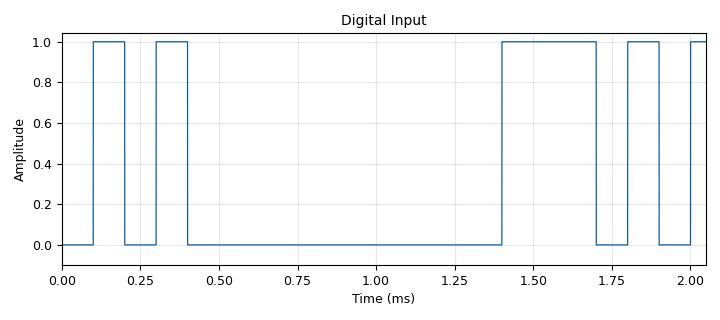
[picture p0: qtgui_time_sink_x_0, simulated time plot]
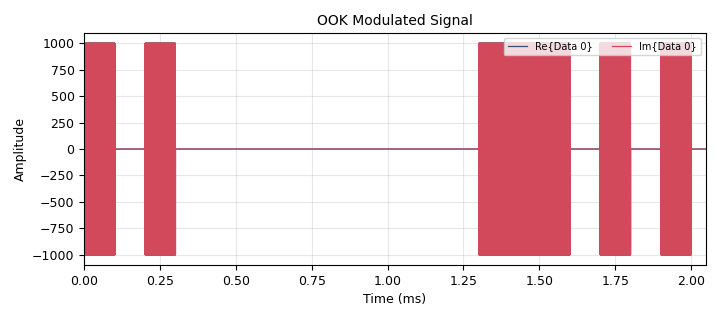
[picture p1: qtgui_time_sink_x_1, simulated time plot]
<?xml version='1.0' encoding='utf-8'?>
<?grc format='1' created='3.7.11'?>
<flow_graph>
<block>
<key>options</key>
<param><key>id</key><value>top_block</value></param>
<param><key>generate_options</key><value>qt_gui</value></param>
</block>
<block>
<key>variable</key>
<param><key>id</key><value>center_freq</value></param>
<param><key>value</key><value>313e6</value></param>
</block>
<block>
<key>variable_qtgui_entry</key>
<param><key>id</key><value>freq</value></param>
<param><key>value</key><value>315e6</value></param>
<param><key>type</key><value>real</value></param>
</block>
<block>
<key>variable</key>
<param><key>id</key><value>gain</value></param>
<param><key>value</key><value>1e3</value></param>
</block>
<block>
<key>variable</key>
<param><key>id</key><value>samp_rate</value></param>
<param><key>value</key><value>8e6</value></param>
</block>
<block>
<key>analog_const_source_x</key>
<param><key>id</key><value>analog_const_source_x_0</value></param>
<param><key>const</key><value>0</value></param>
<param><key>type</key><value>float</value></param>
</block>
<block>
<key>analog_sig_source_x</key>
<param><key>id</key><value>analog_sig_source_x_0</value></param>
<param><key>amp</key><value>gain</value></param>
<param><key>comment</key><value>Tune frequency to the difference:
freq - center_freq

Boost the carrier amplitude using the gain value.</value></param>
<param><key>freq</key><value>freq-center_freq</value></param>
<param><key>offset</key><value>0</value></param>
<param><key>type</key><value>complex</value></param>
<param><key>samp_rate</key><value>samp_rate</value></param>
<param><key>waveform</key><value>analog.GR_COS_WAVE</value></param>
</block>
<block>
<key>blocks_float_to_complex</key>
<param><key>id</key><value>blocks_float_to_complex_0</value></param>
<param><key>comment</key><value>The real part of the complex value is the signal
coming out of the Repeat block. 

The complex part of the signal is the constant 
source block input.

When the constant is 0, then the complex portion 
of the signal is zero.

Repeat + j constant

This will either be 1 + j0  or 0 + j0 because the 
vector source values are either 0 or 1</value></param>
</block>
<block>
<key>blocks_multiply_xx</key>
<param><key>id</key><value>blocks_multiply_xx_0</value></param>
<param><key>comment</key><value>The float to complex output is either 1 + j0  or
0 + j0.

Multiplying this by the carrier cosine wave 
results in an unmodified carrier wave when the
input data is 1 and shuts off the carrier wave
when the input data is 0.</value></param>
<param><key>type</key><value>complex</value></param>
</block>
<block>
<key>blocks_repeat</key>
<param><key>id</key><value>blocks_repeat_0</value></param>
<param><key>interp</key><value>800</value></param>
<param><key>type</key><value>float</value></param>
</block>
<block>
<key>blocks_throttle</key>
<param><key>id</key><value>blocks_throttle_0</value></param>
<param><key>samples_per_second</key><value>samp_rate</value></param>
<param><key>type</key><value>complex</value></param>
</block>
<block>
<key>blocks_vector_source_x</key>
<param><key>id</key><value>blocks_vector_source_x_0</value></param>
<param><key>type</key><value>float</value></param>
<param><key>repeat</key><value>True</value></param>
<param><key>vector</key><value>(0, 1,1,1,0,1,0,1,0,1,0,0,0,0,0,0,0,0,0)</value></param>
</block>
<block>
<key>note</key>
<param><key>id</key><value>note_0</value></param>
<param><key>comment</key><value>OOK Modulator

Transmit a carrier when the signal is a one and
turn it off when signal is a zero.</value></param>
<param><key>note</key><value>Build Modulator</value></param>
</block>
<block>
<key>note</key>
<param><key>id</key><value>note_1</value></param>
</block>
<block>
<key>note</key>
<param><key>id</key><value>note_2</value></param>
<param><key>note</key><value>throttle saves cpu resources</value></param>
</block>
<block>
<key>note</key>
<param><key>id</key><value>note_4</value></param>
<param><key>comment</key><value>When the flowgraph is running

Click and drag narrow portion of modulated signal t
to see the carrier wave instead of just the large 
red rectangle.

When zoomed in,  the signal resembles a triangle 
wave. This is due to a limited number of samples
used to draw the wave.

The sinusoid's frequency is 2MHz (315MHz-313MHz)

The sampe rate, 8 MHz, is only a factor of 4 greater
than the sinusoidal frequency, which does not 
provide much detail for plotting the signal.

To see more detail, change the freq variable to
313.02 M, which results in a sinusoidal frequency
of 20 kHz. (313.02 M - 313 M). This provides 40
samples to plot the signal.</value></param>
</block>
<block>
<key>note</key>
<param><key>id</key><value>note_repeat</value></param>
<param><key>comment</key><value>The interpolation rate is set at 800.

The sample rate is 8 MHz.

Sample period is 1/8 MHz = 0.125 microseconds

Repeating the input 800 times results in a 
pulse length of 100 microseconds.

This gives us a nice square wave. Without the
repeat block, we have a series of spikes when at 
the transition from 0 to 1 when the rate is 8 MHz.</value></param>
<param><key>note</key><value>Repeats signal 800 times</value></param>
</block>
<block>
<key>qtgui_time_sink_x</key>
<param><key>id</key><value>qtgui_time_sink_x_0</value></param>
<param><key>comment</key><value>Number of points: 16384
Sample rate: samp_rate
Y min: -0.1
Y max: 1100
Trigger Mode: Auto
Trigger Level: 0.5
Trigger Delay: 100e-6


Y min: -0.1 gets rid of wasted space on the Y axis.
Our signal never goes below 0.

Trigger Delay: 100e-6 allows us to see the start
of the waveform.</value></param>
<param><key>color1</key><value>"blue"</value></param>
<param><key>label1</key><value></value></param>
<param><key>name</key><value>"Digital Input"</value></param>
<param><key>size</key><value>16384</value></param>
<param><key>srate</key><value>samp_rate</value></param>
<param><key>tr_delay</key><value>100e-6</value></param>
<param><key>tr_level</key><value>0.5</value></param>
<param><key>tr_mode</key><value>qtgui.TRIG_MODE_AUTO</value></param>
<param><key>type</key><value>float</value></param>
<param><key>ymin</key><value>-0.1</value></param>
</block>
<block>
<key>qtgui_time_sink_x</key>
<param><key>id</key><value>qtgui_time_sink_x_1</value></param>
<param><key>comment</key><value>Number of points: 16384
Sample rate: samp_rate
Y min: -1100
Y max: 1100
Trigger Mode: Auto
Trigger Level: 500
Trigger Delay: 0.1e-3


Scale Y to account for amplitude gain factor.</value></param>
<param><key>color1</key><value>"blue"</value></param>
<param><key>label1</key><value></value></param>
<param><key>color2</key><value>"red"</value></param>
<param><key>label2</key><value></value></param>
<param><key>name</key><value>"OOK Modulated Signal"</value></param>
<param><key>size</key><value>16384</value></param>
<param><key>srate</key><value>samp_rate</value></param>
<param><key>tr_delay</key><value>0.1e-3</value></param>
<param><key>tr_level</key><value>500</value></param>
<param><key>tr_mode</key><value>qtgui.TRIG_MODE_AUTO</value></param>
<param><key>type</key><value>complex</value></param>
<param><key>ymax</key><value>1100</value></param>
<param><key>ymin</key><value>-1100</value></param>
</block>
<connection><source_block_id>analog_const_source_x_0</source_block_id><sink_block_id>blocks_float_to_complex_0</sink_block_id><source_key>0</source_key><sink_key>1</sink_key></connection>
<connection><source_block_id>analog_sig_source_x_0</source_block_id><sink_block_id>blocks_throttle_0</sink_block_id><source_key>0</source_key><sink_key>0</sink_key></connection>
<connection><source_block_id>blocks_float_to_complex_0</source_block_id><sink_block_id>blocks_multiply_xx_0</sink_block_id><source_key>0</source_key><sink_key>0</sink_key></connection>
<connection><source_block_id>blocks_multiply_xx_0</source_block_id><sink_block_id>qtgui_time_sink_x_1</sink_block_id><source_key>0</source_key><sink_key>0</sink_key></connection>
<connection><source_block_id>blocks_repeat_0</source_block_id><sink_block_id>blocks_float_to_complex_0</sink_block_id><source_key>0</source_key><sink_key>0</sink_key></connection>
<connection><source_block_id>blocks_repeat_0</source_block_id><sink_block_id>qtgui_time_sink_x_0</sink_block_id><source_key>0</source_key><sink_key>0</sink_key></connection>
<connection><source_block_id>blocks_throttle_0</source_block_id><sink_block_id>blocks_multiply_xx_0</sink_block_id><source_key>0</source_key><sink_key>1</sink_key></connection>
<connection><source_block_id>blocks_vector_source_x_0</source_block_id><sink_block_id>blocks_repeat_0</sink_block_id><source_key>0</source_key><sink_key>0</sink_key></connection>
</flow_graph>
